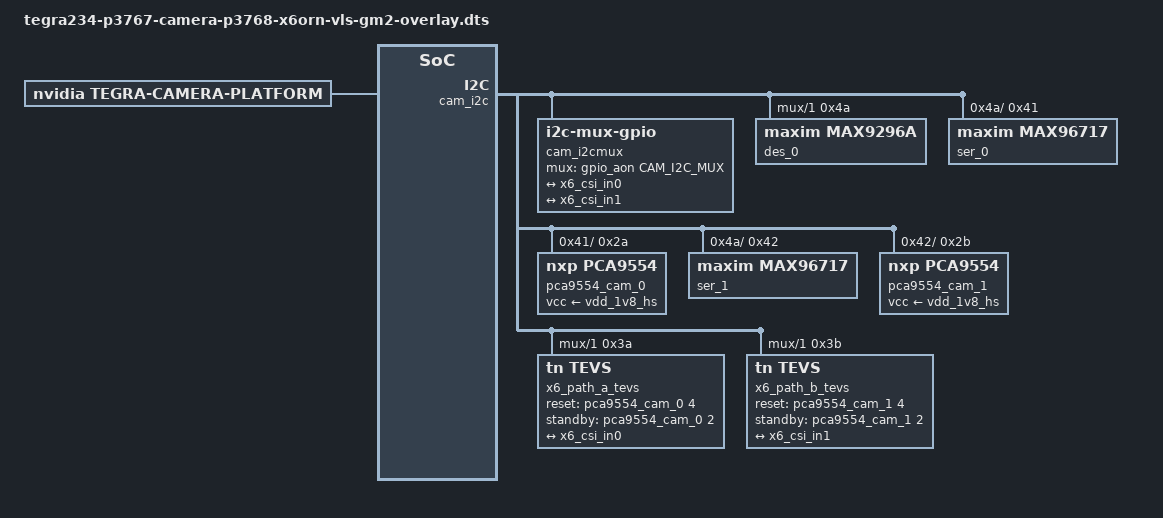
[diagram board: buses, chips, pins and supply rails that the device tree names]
// SPDX-License-Identifier: GPL-2.0-only
// SPDX-FileCopyrightText: Copyright (c) 2026, DFI. All rights reserved.

/dts-v1/;
/plugin/;

#include <dt-bindings/tegra234-p3767-0000-common.h>
#include <dt-bindings/pinctrl/pinctrl-tegra.h>

#define CAM_I2C_MUX		TEGRA234_AON_GPIO(CC, 3)

#define X6_CAM_LANES		4
#define X6_CAM_LANES_STRING	"4"
#define X6_CAM_PORT		2
#define X6_CAM_SINTERFACE	"serial_c"
#define X6_DES_PHY_ID		0

/ {
	overlay-name = "X6-ORN VLS-GM2 MAX9296A camera overlay";
	jetson-header-name = "Jetson 24pin CSI Connector";
	compatible = JETSON_COMPATIBLE;

	fragment@0 {
		target-path = "/";
		__overlay__ {
			tegra-capture-vi {
				num-channels = <2>;
				ports {
					#address-cells = <1>;
					#size-cells = <0>;

					x6_vi_port0: port@0 {
						reg = <0>;

						x6_vi_in0: endpoint {
							vc-id = <0>;
							port-index = <X6_CAM_PORT>;
							bus-width = <X6_CAM_LANES>;
							remote-endpoint = <&x6_csi_out0>;
						};
					};

					x6_vi_port1: port@1 {
						reg = <1>;

						x6_vi_in1: endpoint {
							vc-id = <1>;
							port-index = <X6_CAM_PORT>;
							bus-width = <X6_CAM_LANES>;
							remote-endpoint = <&x6_csi_out1>;
						};
					};
				};
			};

			bus@0 {
				cam_i2cmux {
					#address-cells = <1>;
					#size-cells = <0>;
					status = "okay";
					compatible = "i2c-mux-gpio";
					i2c-parent = <&cam_i2c>;
					mux-gpios = <&gpio_aon CAM_I2C_MUX GPIO_ACTIVE_HIGH>;

					cam_i2c_0: i2c@0 {
						#address-cells = <1>;
						#size-cells = <0>;
						reg = <0>;
						status = "okay";

						rbpcv2_imx219_a@10 {
							status = "disabled";
						};
					};

					cam_i2c_1: i2c@1 {
						#address-cells = <1>;
						#size-cells = <0>;
						reg = <1>;
						status = "okay";

						rbpcv2_imx219_c@10 {
							status = "disabled";
						};
					};
				};

				host1x@13e00000 {
					nvcsi@15a00000 {
						#address-cells = <1>;
						#size-cells = <0>;
						num-channels = <2>;

						channel@0 {
							reg = <0>;
							ports {
								#address-cells = <1>;
								#size-cells = <0>;

								port@0 {
									reg = <0>;

									x6_csi_in0: endpoint@0 {
										port-index = <X6_CAM_PORT>;
										bus-width = <X6_CAM_LANES>;
										remote-endpoint = <&x6_tevs_a_out>;
									};
								};

								port@1 {
									reg = <1>;

									x6_csi_out0: endpoint@1 {
										remote-endpoint = <&x6_vi_in0>;
									};
								};
							};
						};

						channel@1 {
							reg = <1>;
							ports {
								#address-cells = <1>;
								#size-cells = <0>;

								port@0 {
									reg = <0>;

									x6_csi_in1: endpoint@2 {
										port-index = <X6_CAM_PORT>;
										bus-width = <X6_CAM_LANES>;
										remote-endpoint = <&x6_tevs_b_out>;
									};
								};

								port@1 {
									reg = <1>;

									x6_csi_out1: endpoint@3 {
										remote-endpoint = <&x6_vi_in1>;
									};
								};
							};
						};
					};
				};
			};

			tegra-camera-platform {
				compatible = "nvidia, tegra-camera-platform";
				num_csi_lanes = <X6_CAM_LANES>;
				max_lane_speed = <1500000>;
				min_bits_per_pixel = <16>;
				vi_peak_byte_per_pixel = <2>;
				vi_bw_margin_pct = <25>;

				modules {
					module0 {
						badge = "x6orn_tevs_a";
						position = "front";
						orientation = "1";

						drivernode0 {
							pcl_id = "v4l2_sensor";
							sysfs-device-tree = "/sys/firmware/devicetree/base/bus@0/cam_i2cmux/i2c@1/rpi22_tevs_a@3a";
						};
					};

					module1 {
						badge = "x6orn_tevs_b";
						position = "rear";
						orientation = "1";

						drivernode0 {
							pcl_id = "v4l2_sensor";
							sysfs-device-tree = "/sys/firmware/devicetree/base/bus@0/cam_i2cmux/i2c@1/rpi22_tevs_b@3b";
						};
					};
				};
			};
		};
	};
};

&cam_i2c_1 {
	des_0: max9296a@4a {
		compatible = "maxim,max9296a";
		reg = <0x4a>;
		phy-reg = <0x48>;
		status = "okay";
		#address-cells = <1>;
		#size-cells = <0>;

		maxim,mfp4-power-output-high;

		i2c-addr-alias-map-local = <0x41 0x42>;
		i2c-addr-alias-map-remote = <0x40 0x40>;
		i2c-addr-alias-source-id = <0 1>;

		gpio-controller;
		#gpio-cells = <2>;
		gpio-ranges = <&des_0 0 0 12>;

		pinctrl-names = "default";
		pinctrl-0 = <&des_0_pinmux_default>;

		des_0_pinmux_default: pinmux {
			mfp4_power {
				pins = "mfp4";
				function = "gpio";
				output-enable;
				output-high;
			};
		};

		i2c-mux {
			#address-cells = <1>;
			#size-cells = <0>;
			compatible = "i2c-mux-gpio";
			i2c-parent = <&cam_i2c>;
			mux-gpios = <&gpio_aon CAM_I2C_MUX GPIO_ACTIVE_HIGH>;

			des_0_i2c_0: i2c@0 {
				#address-cells = <1>;
				#size-cells = <0>;
				reg = <0>;
			};

			des_0_i2c_1: i2c@1 {
				#address-cells = <1>;
				#size-cells = <0>;
				reg = <1>;
			};
		};

		phy@0 {
			reg = <X6_DES_PHY_ID>;
		};

		pipe@0 {
			reg = <0>;
			maxim,phy-id = <X6_DES_PHY_ID>;
			maxim,stream-id = <0>;
		};

		pipe@1 {
			reg = <1>;
			maxim,phy-id = <X6_DES_PHY_ID>;
			maxim,stream-id = <1>;
		};

		channel@0 {
			reg = <0>;
			label = "x6orn_des_ch0";
			maxim,phy-id = <X6_DES_PHY_ID>;
			maxim,pipe-id = <0>;
			maxim,src-vc-id = <0>;
			maxim,dst-vc-id = <0>;
			clock-lanes = <0>;
			data-lanes = <1 2 3 4>;
			link-frequencies = /bits/ 64 <1000000000>;
		};

		channel@1 {
			reg = <1>;
			label = "x6orn_des_ch1";
			maxim,phy-id = <X6_DES_PHY_ID>;
			maxim,pipe-id = <1>;
			maxim,src-vc-id = <0>;
			maxim,dst-vc-id = <1>;
			clock-lanes = <0>;
			data-lanes = <1 2 3 4>;
			link-frequencies = /bits/ 64 <1000000000>;
		};
	};

	x6_path_a_tevs: rpi22_tevs_a@3a {
		compatible = "tn,tevs";
		reg = <0x3a>;
		status = "okay";
		reset-gpios = <&pca9554_cam_0 4 GPIO_ACTIVE_HIGH>;
		standby-gpios = <&pca9554_cam_0 2 GPIO_ACTIVE_HIGH>;
		devnode = "video0";
		physical_w = "3.680";
		physical_h = "2.760";
		sensor_model = "tevs";
		use_sensor_mode_id = "false";
		vc-id = <0>;

		mode0 {
			mclk_khz = "24000";
			num_lanes = X6_CAM_LANES_STRING;
			tegra_sinterface = X6_CAM_SINTERFACE;
			phy_mode = "DPHY";
			discontinuous_clk = "yes";
			dpcm_enable = "false";
			cil_settletime = "0";
			active_w = "640";
			active_h = "480";
			mode_type = "yuv";
			pixel_phase = "uyvy";
			csi_pixel_bit_depth = "16";
			readout_orientation = "90";
			line_length = "3448";
			inherent_gain = "1";
			mclk_multiplier = "9.33";
			pix_clk_hz = "200000000";
			serdes_pix_clk_hz = "400000000";
			gain_factor = "16";
			framerate_factor = "1000000";
			exposure_factor = "1000000";
			min_gain_val = "16";
			max_gain_val = "170";
			step_gain_val = "1";
			default_gain = "16";
			min_hdr_ratio = "1";
			max_hdr_ratio = "1";
			min_framerate = "2000000";
			max_framerate = "60000000";
			step_framerate = "1";
			default_framerate = "60000000";
			min_exp_time = "13";
			max_exp_time = "683709";
			step_exp_time = "1";
			default_exp_time = "2495";
			embedded_metadata_height = "0";
		};

		mode1 {
			mclk_khz = "24000";
			num_lanes = X6_CAM_LANES_STRING;
			tegra_sinterface = X6_CAM_SINTERFACE;
			phy_mode = "DPHY";
			discontinuous_clk = "yes";
			dpcm_enable = "false";
			cil_settletime = "0";
			active_w = "1280";
			active_h = "720";
			mode_type = "yuv";
			pixel_phase = "uyvy";
			csi_pixel_bit_depth = "16";
			readout_orientation = "90";
			line_length = "3448";
			inherent_gain = "1";
			mclk_multiplier = "9.33";
			pix_clk_hz = "200000000";
			serdes_pix_clk_hz = "400000000";
			gain_factor = "16";
			framerate_factor = "1000000";
			exposure_factor = "1000000";
			min_gain_val = "16";
			max_gain_val = "170";
			step_gain_val = "1";
			default_gain = "16";
			min_hdr_ratio = "1";
			max_hdr_ratio = "1";
			min_framerate = "2000000";
			max_framerate = "60000000";
			step_framerate = "1";
			default_framerate = "60000000";
			min_exp_time = "13";
			max_exp_time = "683709";
			step_exp_time = "1";
			default_exp_time = "2495";
			embedded_metadata_height = "0";
		};

		mode2 {
			mclk_khz = "24000";
			num_lanes = X6_CAM_LANES_STRING;
			tegra_sinterface = X6_CAM_SINTERFACE;
			phy_mode = "DPHY";
			discontinuous_clk = "yes";
			dpcm_enable = "false";
			cil_settletime = "0";
			active_w = "1920";
			active_h = "1080";
			mode_type = "yuv";
			pixel_phase = "uyvy";
			csi_pixel_bit_depth = "16";
			readout_orientation = "90";
			line_length = "3448";
			inherent_gain = "1";
			mclk_multiplier = "9.33";
			pix_clk_hz = "200000000";
			serdes_pix_clk_hz = "400000000";
			gain_factor = "16";
			framerate_factor = "1000000";
			exposure_factor = "1000000";
			min_gain_val = "16";
			max_gain_val = "170";
			step_gain_val = "1";
			default_gain = "16";
			min_hdr_ratio = "1";
			max_hdr_ratio = "1";
			min_framerate = "2000000";
			max_framerate = "30000000";
			step_framerate = "1";
			default_framerate = "30000000";
			min_exp_time = "13";
			max_exp_time = "683709";
			step_exp_time = "1";
			default_exp_time = "2495";
			embedded_metadata_height = "0";
		};

		mode3 {
			mclk_khz = "24000";
			num_lanes = X6_CAM_LANES_STRING;
			tegra_sinterface = X6_CAM_SINTERFACE;
			phy_mode = "DPHY";
			discontinuous_clk = "yes";
			dpcm_enable = "false";
			cil_settletime = "0";
			active_w = "2560";
			active_h = "1440";
			mode_type = "yuv";
			pixel_phase = "uyvy";
			csi_pixel_bit_depth = "16";
			readout_orientation = "90";
			line_length = "3448";
			inherent_gain = "1";
			mclk_multiplier = "9.33";
			pix_clk_hz = "200000000";
			serdes_pix_clk_hz = "400000000";
			gain_factor = "16";
			framerate_factor = "1000000";
			exposure_factor = "1000000";
			min_gain_val = "16";
			max_gain_val = "170";
			step_gain_val = "1";
			default_gain = "16";
			min_hdr_ratio = "1";
			max_hdr_ratio = "1";
			min_framerate = "2000000";
			max_framerate = "30000000";
			step_framerate = "1";
			default_framerate = "30000000";
			min_exp_time = "13";
			max_exp_time = "683709";
			step_exp_time = "1";
			default_exp_time = "2495";
			embedded_metadata_height = "0";
		};

		mode4 {
			mclk_khz = "24000";
			num_lanes = X6_CAM_LANES_STRING;
			tegra_sinterface = X6_CAM_SINTERFACE;
			phy_mode = "DPHY";
			discontinuous_clk = "yes";
			dpcm_enable = "false";
			cil_settletime = "0";
			active_w = "3840";
			active_h = "2160";
			mode_type = "yuv";
			pixel_phase = "uyvy";
			csi_pixel_bit_depth = "16";
			readout_orientation = "90";
			line_length = "3448";
			inherent_gain = "1";
			mclk_multiplier = "9.33";
			pix_clk_hz = "200000000";
			serdes_pix_clk_hz = "400000000";
			gain_factor = "16";
			framerate_factor = "1000000";
			exposure_factor = "1000000";
			min_gain_val = "16";
			max_gain_val = "170";
			step_gain_val = "1";
			default_gain = "16";
			min_hdr_ratio = "1";
			max_hdr_ratio = "1";
			min_framerate = "2000000";
			max_framerate = "15000000";
			step_framerate = "1";
			default_framerate = "15000000";
			min_exp_time = "13";
			max_exp_time = "683709";
			step_exp_time = "1";
			default_exp_time = "2495";
			embedded_metadata_height = "0";
		};

		ports {
			#address-cells = <1>;
			#size-cells = <0>;

			port@0 {
				reg = <0>;

				x6_tevs_a_out: endpoint {
					port-index = <X6_CAM_PORT>;
					bus-width = <X6_CAM_LANES>;
					remote-endpoint = <&x6_csi_in0>;
					clock-noncontinuous;
					link-frequencies = /bits/ 64 <400000000>;
				};
			};
		};
	};

	x6_path_b_tevs: rpi22_tevs_b@3b {
		compatible = "tn,tevs";
		reg = <0x3b>;
		status = "okay";
		reset-gpios = <&pca9554_cam_1 4 GPIO_ACTIVE_HIGH>;
		standby-gpios = <&pca9554_cam_1 2 GPIO_ACTIVE_HIGH>;
		devnode = "video1";
		physical_w = "3.680";
		physical_h = "2.760";
		sensor_model = "tevs";
		use_sensor_mode_id = "false";
		vc-id = <0>;

		mode0 {
			mclk_khz = "24000";
			num_lanes = X6_CAM_LANES_STRING;
			tegra_sinterface = X6_CAM_SINTERFACE;
			phy_mode = "DPHY";
			discontinuous_clk = "yes";
			dpcm_enable = "false";
			cil_settletime = "0";
			active_w = "640";
			active_h = "480";
			mode_type = "yuv";
			pixel_phase = "uyvy";
			csi_pixel_bit_depth = "16";
			readout_orientation = "90";
			line_length = "3448";
			inherent_gain = "1";
			mclk_multiplier = "9.33";
			pix_clk_hz = "200000000";
			serdes_pix_clk_hz = "400000000";
			gain_factor = "16";
			framerate_factor = "1000000";
			exposure_factor = "1000000";
			min_gain_val = "16";
			max_gain_val = "170";
			step_gain_val = "1";
			default_gain = "16";
			min_hdr_ratio = "1";
			max_hdr_ratio = "1";
			min_framerate = "2000000";
			max_framerate = "60000000";
			step_framerate = "1";
			default_framerate = "60000000";
			min_exp_time = "13";
			max_exp_time = "683709";
			step_exp_time = "1";
			default_exp_time = "2495";
			embedded_metadata_height = "0";
		};

		mode1 {
			mclk_khz = "24000";
			num_lanes = X6_CAM_LANES_STRING;
			tegra_sinterface = X6_CAM_SINTERFACE;
			phy_mode = "DPHY";
			discontinuous_clk = "yes";
			dpcm_enable = "false";
			cil_settletime = "0";
			active_w = "1280";
			active_h = "720";
			mode_type = "yuv";
			pixel_phase = "uyvy";
			csi_pixel_bit_depth = "16";
			readout_orientation = "90";
			line_length = "3448";
			inherent_gain = "1";
			mclk_multiplier = "9.33";
			pix_clk_hz = "200000000";
			serdes_pix_clk_hz = "400000000";
			gain_factor = "16";
			framerate_factor = "1000000";
			exposure_factor = "1000000";
			min_gain_val = "16";
			max_gain_val = "170";
			step_gain_val = "1";
			default_gain = "16";
			min_hdr_ratio = "1";
			max_hdr_ratio = "1";
			min_framerate = "2000000";
			max_framerate = "60000000";
			step_framerate = "1";
			default_framerate = "60000000";
			min_exp_time = "13";
			max_exp_time = "683709";
			step_exp_time = "1";
			default_exp_time = "2495";
			embedded_metadata_height = "0";
		};

		mode2 {
			mclk_khz = "24000";
			num_lanes = X6_CAM_LANES_STRING;
			tegra_sinterface = X6_CAM_SINTERFACE;
			phy_mode = "DPHY";
			discontinuous_clk = "yes";
			dpcm_enable = "false";
			cil_settletime = "0";
			active_w = "1920";
			active_h = "1080";
			mode_type = "yuv";
			pixel_phase = "uyvy";
			csi_pixel_bit_depth = "16";
			readout_orientation = "90";
			line_length = "3448";
			inherent_gain = "1";
			mclk_multiplier = "9.33";
			pix_clk_hz = "200000000";
			serdes_pix_clk_hz = "400000000";
			gain_factor = "16";
			framerate_factor = "1000000";
			exposure_factor = "1000000";
			min_gain_val = "16";
			max_gain_val = "170";
			step_gain_val = "1";
			default_gain = "16";
			min_hdr_ratio = "1";
			max_hdr_ratio = "1";
			min_framerate = "2000000";
			max_framerate = "30000000";
			step_framerate = "1";
			default_framerate = "30000000";
			min_exp_time = "13";
			max_exp_time = "683709";
			step_exp_time = "1";
			default_exp_time = "2495";
			embedded_metadata_height = "0";
		};

		mode3 {
			mclk_khz = "24000";
			num_lanes = X6_CAM_LANES_STRING;
			tegra_sinterface = X6_CAM_SINTERFACE;
			phy_mode = "DPHY";
			discontinuous_clk = "yes";
			dpcm_enable = "false";
			cil_settletime = "0";
			active_w = "2560";
			active_h = "1440";
			mode_type = "yuv";
			pixel_phase = "uyvy";
			csi_pixel_bit_depth = "16";
			readout_orientation = "90";
			line_length = "3448";
			inherent_gain = "1";
			mclk_multiplier = "9.33";
			pix_clk_hz = "200000000";
			serdes_pix_clk_hz = "400000000";
			gain_factor = "16";
			framerate_factor = "1000000";
			exposure_factor = "1000000";
			min_gain_val = "16";
			max_gain_val = "170";
			step_gain_val = "1";
			default_gain = "16";
			min_hdr_ratio = "1";
			max_hdr_ratio = "1";
			min_framerate = "2000000";
			max_framerate = "30000000";
			step_framerate = "1";
			default_framerate = "30000000";
			min_exp_time = "13";
			max_exp_time = "683709";
			step_exp_time = "1";
			default_exp_time = "2495";
			embedded_metadata_height = "0";
		};

		mode4 {
			mclk_khz = "24000";
			num_lanes = X6_CAM_LANES_STRING;
			tegra_sinterface = X6_CAM_SINTERFACE;
			phy_mode = "DPHY";
			discontinuous_clk = "yes";
			dpcm_enable = "false";
			cil_settletime = "0";
			active_w = "3840";
			active_h = "2160";
			mode_type = "yuv";
			pixel_phase = "uyvy";
			csi_pixel_bit_depth = "16";
			readout_orientation = "90";
			line_length = "3448";
			inherent_gain = "1";
			mclk_multiplier = "9.33";
			pix_clk_hz = "200000000";
			serdes_pix_clk_hz = "400000000";
			gain_factor = "16";
			framerate_factor = "1000000";
			exposure_factor = "1000000";
			min_gain_val = "16";
			max_gain_val = "170";
			step_gain_val = "1";
			default_gain = "16";
			min_hdr_ratio = "1";
			max_hdr_ratio = "1";
			min_framerate = "2000000";
			max_framerate = "15000000";
			step_framerate = "1";
			default_framerate = "15000000";
			min_exp_time = "13";
			max_exp_time = "683709";
			step_exp_time = "1";
			default_exp_time = "2495";
			embedded_metadata_height = "0";
		};

		ports {
			#address-cells = <1>;
			#size-cells = <0>;

			port@0 {
				reg = <0>;

				x6_tevs_b_out: endpoint {
					port-index = <X6_CAM_PORT>;
					bus-width = <X6_CAM_LANES>;
					remote-endpoint = <&x6_csi_in1>;
					clock-noncontinuous;
					link-frequencies = /bits/ 64 <400000000>;
				};
			};
		};
	};
};

&des_0_i2c_0 {
	ser_0: max96717@41 {
		compatible = "maxim,max96717";
		reg = <0x41>;
		status = "okay";
		#address-cells = <1>;
		#size-cells = <0>;

		i2c-addr-alias-map-local = <0x3a 0x2a>;
		i2c-addr-alias-map-remote = <0x48 0x25>;

		gpio-controller;
		#gpio-cells = <2>;
		gpio-ranges = <&ser_0 0 0 11>;

		i2c-mux {
			#address-cells = <1>;
			#size-cells = <0>;
			compatible = "i2c-mux-gpio";
			i2c-parent = <&cam_i2c>;
			mux-gpios = <&gpio_aon CAM_I2C_MUX GPIO_ACTIVE_HIGH>;

			ser_0_i2c_0: i2c@0 {
				#address-cells = <1>;
				#size-cells = <0>;
				reg = <0>;
			};
		};

		pipe@0 {
			reg = <0>;
			maxim,stream-id = <0>;
		};

		channel@0 {
			reg = <0>;
			label = "x6orn_ser_ch0";
			maxim,pipe-id = <0>;
			maxim,vc-id = <0>;
			clock-lanes = <0>;
			data-lanes = <1 2 3 4>;
			clock-noncontinuous;
		};
	};
};

&des_0_i2c_1 {
	ser_1: max96717@42 {
		compatible = "maxim,max96717";
		reg = <0x42>;
		status = "okay";
		#address-cells = <1>;
		#size-cells = <0>;

		i2c-addr-alias-map-local = <0x3b 0x2b>;
		i2c-addr-alias-map-remote = <0x48 0x25>;

		gpio-controller;
		#gpio-cells = <2>;
		gpio-ranges = <&ser_1 0 0 11>;

		i2c-mux {
			#address-cells = <1>;
			#size-cells = <0>;
			compatible = "i2c-mux-gpio";
			i2c-parent = <&cam_i2c>;
			mux-gpios = <&gpio_aon CAM_I2C_MUX GPIO_ACTIVE_HIGH>;

			ser_1_i2c_0: i2c@0 {
				#address-cells = <1>;
				#size-cells = <0>;
				reg = <0>;
			};
		};

		pipe@0 {
			reg = <0>;
			maxim,stream-id = <1>;
		};

		channel@0 {
			reg = <0>;
			label = "x6orn_ser_ch1";
			maxim,pipe-id = <0>;
			maxim,vc-id = <0>;
			clock-lanes = <0>;
			data-lanes = <1 2 3 4>;
			clock-noncontinuous;
		};
	};
};

&ser_0_i2c_0 {
	pca9554_cam_0: pca9554@2a {
		compatible = "nxp,pca9554";
		reg = <0x2a>;
		gpio-controller;
		#gpio-cells = <2>;
		gpio-line-names = "EXPOSURE_TRIG_IN",
				"FLASH_OUT",
				"INFO_TRIG_IN",
				"CAMA_SHUTTER",
				"CSI_P1_nRST",
				"PWR_TIME0",
				"PWR_TIME1",
				"3V3_EN";
		vcc-supply = <&vdd_1v8_hs>;
		vcc_lp = "vcc";
		status = "okay";
	};
};

&ser_1_i2c_0 {
	pca9554_cam_1: pca9554@2b {
		compatible = "nxp,pca9554";
		reg = <0x2b>;
		gpio-controller;
		#gpio-cells = <2>;
		gpio-line-names = "EXPOSURE_TRIG_IN",
				"FLASH_OUT",
				"INFO_TRIG_IN",
				"CAMA_SHUTTER",
				"CSI_P1_nRST",
				"PWR_TIME0",
				"PWR_TIME1",
				"3V3_EN";
		vcc-supply = <&vdd_1v8_hs>;
		vcc_lp = "vcc";
		status = "okay";
	};
};
